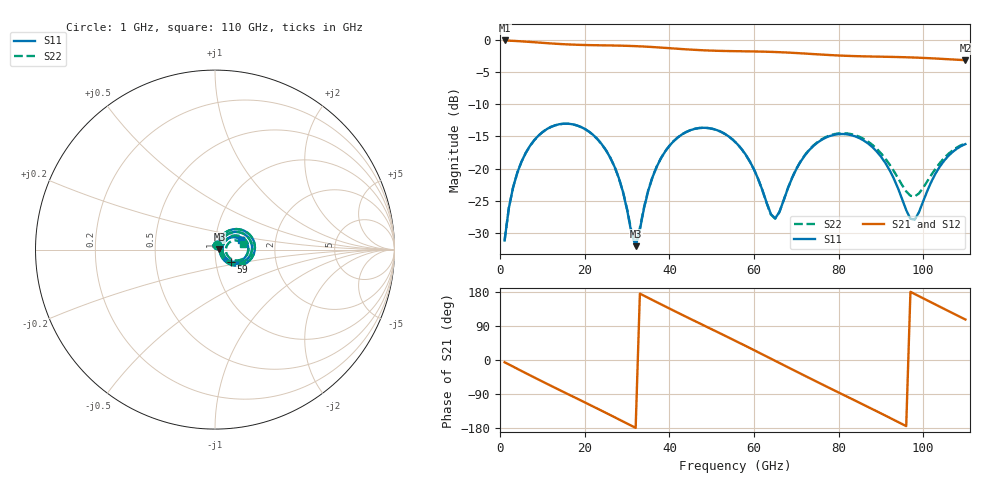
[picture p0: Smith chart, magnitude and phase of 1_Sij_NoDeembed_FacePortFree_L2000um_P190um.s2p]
! Touchstone file exported from HFSS 2024.2.0
!  File:  C:/Users/vaintrug/Documents/Ansoft_Workspace/Comparaison_Calculs_HFSS/1_VarPort.aedt
!  Generated:  03:22:18 PM Jan 21, 2025
!  Design:  1_NoDeembed_FacePortFree
!  Project:  1_VarPort
!  Setup:  Setup1
!  Solution:  Sweep
! Variables:
!  $Lenght = 2000um
!  $PortSize = 190um
!  Gap = 30um
!  Th = 2um
!  X_centralStrip = 20um
!  X_masse = 200um
!  Y_Sub = 2mm
!  Z_Box = 400um
!  Z_Sub = 200um
# GHz S MA R 50.000000
! Terminal data exported
! Port[1] = 1
! Port[2] = 2
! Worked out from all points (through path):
!   110 points, 1 GHz to 110 GHz, reference 50 ohm
!   highest |S21| = -0.13 dB at 1 GHz (marker M1); lowest = -3.2 dB at 110 GHz (marker M2)
!   group delay of S21, straight-line fit = 15.4 ps
!   lowest |S11| = -32.0 dB at 32 GHz (marker M3), VSWR 1.05, Z = 52.5 + j0.273 ohm
!   |S11| at or under -10 dB: start of sweep to end of sweep
!   |S22| runs from -31.6 to -13.0 dB; largest |S21 - S12| = 1.9e-15
!   S11 on the Smith chart (normalised r, x): 1 GHz: 1.03, +0.05; 59 GHz: 1.18, -0.17; 110 GHz: 1.33, +0.14
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1  0.0277 61.3  0.9854 -5.9  0.9854 -5.9  0.02769 61.3
! Gamma 5.81841931794746 50.1303819914552 5.90603283327335 50.0821708045711
! Port Impedance 50 0 50 0
3  0.07133 65.8  0.9783 -17.4  0.9783 -17.4  0.07131 65.8
7  0.1499 48.7  0.96 -40.3  0.96 -40.3  0.1499 48.8
13  0.2168 17.9  0.9297 -73.7  0.9297 -73.7  0.2167 18.0
20  0.2028 -17.2  0.9085 -112.0  0.9085 -112.0  0.2027 -17.0
27  0.1034 -47.0  0.9001 -150.9  0.9001 -150.9  0.1035 -46.3
32  0.02501 6.0  0.8901 -179.2  0.8901 -179.2  0.02638 6.2
35  0.06774 54.8  0.8801 163.8  0.8801 163.8  0.06838 53.9
38  0.1203 48.9  0.8675 146.9  0.8675 146.9  0.1207 48.3
43  0.1843 27.9  0.845 119.2  0.845 119.2  0.1845 27.6
47  0.2061 9.6  0.83 97.4  0.83 97.4  0.2062 9.5
51  0.1998 -8.5  0.8199 75.7  0.8199 75.7  0.1999 -8.4
56  0.1555 -29.2  0.8134 48.3  0.8134 48.3  0.1554 -29.0
59  0.1138 -38.2  0.8107 31.6  0.8107 31.6  0.1135 -38.0
65  0.04107 3.2  0.8015 -2.1  0.8015 -2.1  0.04085 4.3
70  0.09893 40.7  0.7871 -30.3  0.7871 -30.3  0.09958 41.9
74  0.1493 29.7  0.7728 -52.7  0.7728 -52.7  0.1505 31.2
83  0.1816 -7.1  0.7467 -102.1  0.7467 -102.1  0.185 -4.2
92  0.09819 -37.8  0.7353 -151.9  0.7353 -151.9  0.1084 -30.0
98  0.04011 9.0  0.7261 174.3  0.7261 174.3  0.06072 2.2
104  0.1041 38.5  0.7106 140.3  0.7106 140.3  0.111 26.4
110  0.1549 19.4  0.693 106.8  0.693 106.8  0.1568 10.8
